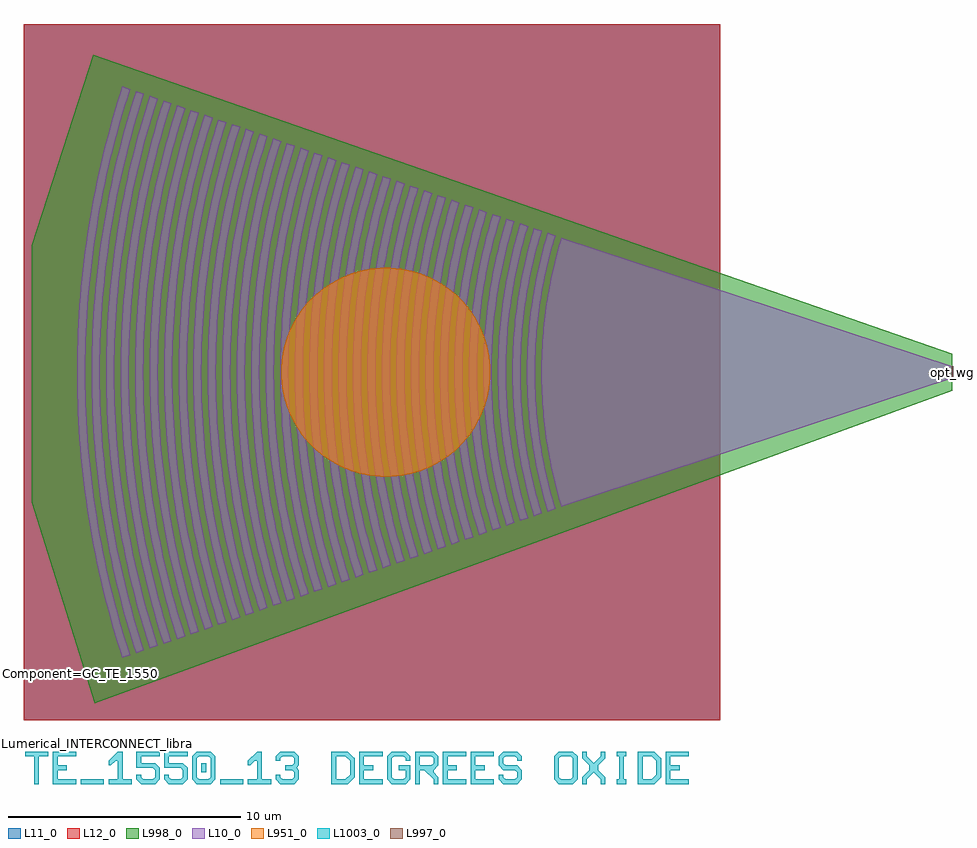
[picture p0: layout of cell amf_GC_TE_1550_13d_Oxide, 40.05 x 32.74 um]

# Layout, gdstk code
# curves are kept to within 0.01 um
import gdstk
lib = gdstk.Library(unit=1e-6, precision=1e-09)
def R(c, l, rs):  # rectangles x0, y0, x1, y1
    for r in rs: c.add(gdstk.rectangle(r[:2], r[2:], *l))
def P(c, l, *ps):  # polygons
    for p in ps: c.add(gdstk.Polygon(p, *l))
L10_0 = (10, 0)
L11_0 = (11, 0)
L12_0 = (12, 0)
L951_0 = (951, 0)
L997_0 = (997, 0)
L998_0 = (998, 0)
L1003_0 = (1003, 0)

amf_gc_te_1550_13d_oxide = lib.new_cell('amf_GC_TE_1550_13d_Oxide')
R(amf_gc_te_1550_13d_oxide, L10_0, [(-1,-0.25,0,0.25)])
P(amf_gc_te_1550_13d_oxide, L10_0, [(-24.52,-8.443),(-24.821,-7.428),(-25.082,-6.404),(-25.305,-5.372),(-25.488,-4.332),(-25.632,-3.287),(-25.736,-2.238),(-25.801,-1.186),(-25.826,-0.132),(-25.811,0.922),(-25.756,1.975),(-25.662,3.025),(-25.528,4.071),(-25.354,5.112),(-25.142,6.147),(-24.821,7.428),(-24.52,8.443),(-24.18,8.326),(-24.476,7.325),(-24.733,6.315),(-24.953,5.297),(-25.133,4.272),(-25.275,3.241),(-25.378,2.207),(-25.441,1.169),(-25.466,0.13),(-25.451,-0.909),(-25.378,-2.207),(-25.275,-3.241),(-25.133,-4.272),(-24.953,-5.297),(-24.733,-6.315),(-24.476,-7.325),(-24.18,-8.326)],
  [(-25.111,-8.646),(-25.419,-7.608),(-25.688,-6.559),(-25.916,-5.501),(-26.104,-4.437),(-26.252,-3.367),(-26.359,-2.292),(-26.425,-1.214),(-26.451,-0.135),(-26.436,0.944),(-26.379,2.023),(-26.283,3.098),(-26.145,4.17),(-25.967,5.236),(-25.749,6.295),(-25.419,7.608),(-25.111,8.646),(-24.771,8.529),(-25.074,7.504),(-25.339,6.47),(-25.564,5.427),(-25.75,4.377),(-25.895,3.321),(-26,2.261),(-26.066,1.198),(-26.091,0.133),(-26.076,-0.932),(-26.021,-1.995),(-25.895,-3.321),(-25.75,-4.377),(-25.564,-5.427),(-25.339,-6.47),(-25.074,-7.504),(-24.771,-8.529)],
  [(-25.702,-8.85),(-26.018,-7.787),(-26.293,-6.713),(-26.528,-5.631),(-26.721,-4.542),(-26.872,-3.446),(-26.982,-2.346),(-27.05,-1.243),(-27.076,-0.138),(-27.06,0.967),(-27.003,2.07),(-26.872,3.446),(-26.721,4.542),(-26.528,5.631),(-26.293,6.713),(-26.018,7.787),(-25.702,8.85),(-25.362,8.733),(-25.673,7.684),(-25.945,6.624),(-26.176,5.556),(-26.366,4.481),(-26.515,3.4),(-26.623,2.315),(-26.69,1.226),(-26.716,0.136),(-26.7,-0.954),(-26.644,-2.043),(-26.546,-3.129),(-26.366,-4.481),(-26.176,-5.556),(-25.945,-6.624),(-25.673,-7.684),(-25.362,-8.733)],
  [(-26.293,-9.053),(-26.617,-7.966),(-26.899,-6.868),(-27.139,-5.761),(-27.337,-4.646),(-27.492,-3.526),(-27.604,-2.4),(-27.674,-1.272),(-27.701,-0.141),(-27.685,0.989),(-27.626,2.118),(-27.524,3.245),(-27.38,4.367),(-27.139,5.761),(-26.899,6.868),(-26.617,7.966),(-26.293,9.053),(-25.953,8.936),(-26.272,7.863),(-26.55,6.779),(-26.787,5.686),(-26.982,4.586),(-27.135,3.48),(-27.246,2.369),(-27.314,1.255),(-27.341,0.139),(-27.325,-0.976),(-27.246,-2.369),(-27.135,-3.48),(-26.982,-4.586),(-26.787,-5.686),(-26.55,-6.779),(-26.272,-7.863),(-25.953,-8.936)],
  [(-26.884,-9.257),(-27.216,-8.145),(-27.505,-7.023),(-27.75,-5.891),(-27.953,-4.751),(-28.112,-3.605),(-28.227,-2.454),(-28.298,-1.3),(-28.326,-0.145),(-28.309,1.011),(-28.249,2.166),(-28.145,3.318),(-27.997,4.465),(-27.805,5.606),(-27.505,7.023),(-27.216,8.145),(-26.884,9.257),(-26.543,9.14),(-26.871,8.042),(-27.156,6.934),(-27.398,5.816),(-27.598,4.691),(-27.755,3.559),(-27.868,2.423),(-27.939,1.284),(-27.966,0.143),(-27.95,-0.999),(-27.89,-2.138),(-27.755,-3.559),(-27.598,-4.691),(-27.398,-5.816),(-27.156,-6.934),(-26.871,-8.042),(-26.543,-9.14)],
  [(-27.475,-9.46),(-27.814,-8.324),(-28.11,-7.177),(-28.362,-6.021),(-28.569,-4.856),(-28.732,-3.685),(-28.85,-2.508),(-28.923,-1.329),(-28.951,-0.148),(-28.934,1.034),(-28.872,2.214),(-28.765,3.391),(-28.614,4.564),(-28.418,5.73),(-28.177,6.889),(-27.892,8.039),(-27.475,9.46),(-27.134,9.343),(-27.469,8.221),(-27.761,7.088),(-28.01,5.946),(-28.214,4.795),(-28.375,3.639),(-28.491,2.477),(-28.563,1.312),(-28.591,0.146),(-28.563,-1.312),(-28.491,-2.477),(-28.375,-3.639),(-28.214,-4.795),(-28.01,-5.946),(-27.761,-7.088),(-27.469,-8.221),(-27.134,-9.343)],
  [(-17.429,-6.001),(-17.635,-5.278),(-17.815,-4.549),(-17.968,-3.814),(-18.094,-3.075),(-18.193,-2.333),(-18.265,-1.588),(-18.309,-0.841),(-18.326,-0.093),(-18.316,0.654),(-18.278,1.401),(-18.214,2.147),(-18.122,2.89),(-18.002,3.63),(-17.856,4.366),(-17.683,5.096),(-17.429,6.001),(-17.088,5.884),(-17.291,5.175),(-17.467,4.46),(-17.616,3.74),(-17.739,3.015),(-17.836,2.287),(-17.906,1.557),(-17.949,0.825),(-17.966,0.092),(-17.956,-0.642),(-17.919,-1.374),(-17.856,-2.105),(-17.766,-2.833),(-17.616,-3.74),(-17.467,-4.46),(-17.291,-5.175),(-17.088,-5.884)],
  [(-18.02,-6.205),(-18.234,-5.457),(-18.421,-4.703),(-18.58,-3.944),(-18.71,-3.18),(-18.813,-2.413),(-18.887,-1.642),(-18.933,-0.87),(-18.951,-0.097),(-18.94,0.677),(-18.901,1.449),(-18.834,2.22),(-18.739,2.989),(-18.58,3.944),(-18.421,4.703),(-18.234,5.457),(-18.02,6.205),(-17.679,6.087),(-17.889,5.354),(-18.072,4.614),(-18.228,3.869),(-18.356,3.12),(-18.456,2.367),(-18.529,1.611),(-18.574,0.853),(-18.591,0.095),(-18.581,-0.664),(-18.529,-1.611),(-18.456,-2.367),(-18.356,-3.12),(-18.228,-3.869),(-18.072,-4.614),(-17.889,-5.354),(-17.679,-6.087)],
  [(-18.611,-6.408),(-18.833,-5.636),(-19.027,-4.858),(-19.191,-4.074),(-19.327,-3.285),(-19.433,-2.492),(-19.51,-1.696),(-19.558,-0.899),(-19.576,-0.1),(-19.565,0.699),(-19.525,1.497),(-19.433,2.492),(-19.327,3.285),(-19.191,4.074),(-19.027,4.858),(-18.833,5.636),(-18.611,6.408),(-18.27,6.291),(-18.488,5.533),(-18.678,4.769),(-18.839,3.999),(-18.972,3.225),(-19.076,2.446),(-19.151,1.665),(-19.198,0.882),(-19.216,0.098),(-19.205,-0.686),(-19.166,-1.47),(-19.076,-2.446),(-18.972,-3.225),(-18.839,-3.999),(-18.678,-4.769),(-18.488,-5.533),(-18.27,-6.291)],
  [(-29.839,-10.274),(-30.209,-9.041),(-30.532,-7.796),(-30.807,-6.54),(-31.034,-5.275),(-31.211,-4.003),(-31.34,-2.725),(-31.42,-1.444),(-31.451,-0.16),(-31.432,1.123),(-31.365,2.405),(-31.248,3.684),(-31.034,5.275),(-30.807,6.54),(-30.532,7.796),(-30.209,9.041),(-29.839,10.274),(-29.498,10.157),(-29.865,8.938),(-30.184,7.707),(-30.455,6.465),(-30.679,5.214),(-30.854,3.957),(-30.982,2.694),(-31.06,1.427),(-31.091,0.159),(-31.073,-1.11),(-30.982,-2.694),(-30.854,-3.957),(-30.679,-5.214),(-30.455,-6.465),(-30.184,-7.707),(-29.865,-8.938),(-29.498,-10.157)],
  [(-30.43,-10.478),(-30.808,-9.22),(-31.138,-7.95),(-31.419,-6.669),(-31.65,-5.379),(-31.831,-4.082),(-31.963,-2.779),(-32.044,-1.472),(-32.076,-0.164),(-32.057,1.145),(-31.988,2.453),(-31.869,3.757),(-31.7,5.056),(-31.481,6.348),(-31.213,7.631),(-30.895,8.904),(-30.43,10.478),(-30.089,10.361),(-30.463,9.117),(-30.789,7.861),(-31.067,6.595),(-31.295,5.319),(-31.474,4.036),(-31.604,2.748),(-31.685,1.456),(-31.716,0.162),(-31.697,-1.132),(-31.629,-2.425),(-31.474,-4.036),(-31.295,-5.319),(-31.067,-6.595),(-30.789,-7.861),(-30.463,-9.117),(-30.089,-10.361)],
  [(-31.021,-10.681),(-31.407,-9.4),(-31.744,-8.105),(-32.03,-6.799),(-32.266,-5.484),(-32.451,-4.162),(-32.586,-2.833),(-32.669,-1.501),(-32.701,-0.167),(-32.682,1.168),(-32.586,2.833),(-32.451,4.162),(-32.266,5.484),(-32.03,6.799),(-31.744,8.105),(-31.407,9.4),(-31.021,10.681),(-30.68,10.564),(-31.062,9.296),(-31.395,8.016),(-31.678,6.724),(-31.911,5.424),(-32.094,4.116),(-32.227,2.802),(-32.309,1.485),(-32.341,0.165),(-32.322,-1.155),(-32.252,-2.473),(-32.132,-3.788),(-31.962,-5.097),(-31.741,-6.4),(-31.395,-8.016),(-31.062,-9.296),(-30.68,-10.564)],
  [(-20.974,-7.222),(-21.228,-6.353),(-21.449,-5.476),(-21.637,-4.593),(-21.791,-3.704),(-21.913,-2.81),(-22.001,-1.913),(-22.055,-1.013),(-22.076,-0.113),(-22.063,0.788),(-22.017,1.688),(-21.938,2.586),(-21.825,3.481),(-21.637,4.593),(-21.449,5.476),(-21.228,6.353),(-20.974,7.222),(-20.634,7.105),(-20.883,6.25),(-21.1,5.387),(-21.284,4.518),(-21.436,3.643),(-21.556,2.764),(-21.642,1.882),(-21.695,0.997),(-21.716,0.111),(-21.704,-0.775),(-21.658,-1.661),(-21.58,-2.544),(-21.469,-3.424),(-21.326,-4.3),(-21.149,-5.171),(-20.883,-6.25),(-20.634,-7.105)],
  [(-21.565,-7.426),(-21.827,-6.532),(-22.054,-5.631),(-22.248,-4.723),(-22.407,-3.809),(-22.533,-2.89),(-22.623,-1.967),(-22.679,-1.042),(-22.701,-0.116),(-22.688,0.811),(-22.64,1.736),(-22.558,2.659),(-22.442,3.579),(-22.291,4.495),(-22.106,5.405),(-21.887,6.308),(-21.565,7.426),(-21.225,7.308),(-21.482,6.429),(-21.706,5.542),(-21.896,4.648),(-22.053,3.748),(-22.175,2.844),(-22.265,1.936),(-22.32,1.026),(-22.341,0.114),(-22.32,-1.026),(-22.265,-1.936),(-22.175,-2.844),(-22.053,-3.748),(-21.896,-4.648),(-21.706,-5.542),(-21.482,-6.429),(-21.225,-7.308)],
  [(-22.156,-7.629),(-22.426,-6.712),(-22.66,-5.786),(-22.859,-4.852),(-23.024,-3.913),(-23.152,-2.969),(-23.246,-2.021),(-23.304,-1.071),(-23.326,-0.119),(-23.313,0.833),(-23.264,1.784),(-23.179,2.732),(-23.024,3.913),(-22.859,4.852),(-22.66,5.786),(-22.426,6.712),(-22.156,7.629),(-21.816,7.512),(-22.081,6.608),(-22.311,5.697),(-22.507,4.778),(-22.669,3.853),(-22.795,2.923),(-22.887,1.99),(-22.944,1.054),(-22.966,0.117),(-22.953,-0.82),(-22.905,-1.756),(-22.822,-2.69),(-22.704,-3.621),(-22.551,-4.547),(-22.311,-5.697),(-22.081,-6.608),(-21.816,-7.512)],
  [(-33.384,-11.495),(-33.802,-10.116),(-34.166,-8.723),(-34.476,-7.318),(-34.731,-5.903),(-34.931,-4.48),(-35.076,-3.05),(-35.166,-1.616),(-35.201,-0.18),(-35.18,1.257),(-35.104,2.692),(-35.045,3.408),(-34.931,4.48),(-34.731,5.903),(-34.476,7.318),(-34.166,8.723),(-33.802,10.116),(-33.384,11.495),(-33.044,11.378),(-33.457,10.013),(-33.817,8.634),(-34.123,7.244),(-34.376,5.843),(-34.574,4.434),(-34.718,3.019),(-34.807,1.599),(-34.841,0.178),(-34.831,-0.889),(-34.807,-1.599),(-34.718,-3.019),(-34.574,-4.434),(-34.376,-5.843),(-34.123,-7.244),(-33.817,-8.634),(-33.457,-10.013),(-33.044,-11.378)],
  [(-33.975,-11.699),(-34.401,-10.296),(-34.771,-8.878),(-35.087,-7.448),(-35.347,-6.008),(-35.551,-4.559),(-35.699,-3.104),(-35.791,-1.644),(-35.826,-0.183),(-35.815,0.914),(-35.791,1.644),(-35.699,3.104),(-35.551,4.559),(-35.347,6.008),(-35.087,7.448),(-34.771,8.878),(-34.401,10.296),(-33.975,11.699),(-33.635,11.581),(-34.056,10.192),(-34.423,8.789),(-34.735,7.373),(-34.992,5.947),(-35.194,4.513),(-35.34,3.073),(-35.431,1.628),(-35.466,0.181),(-35.445,-1.266),(-35.368,-2.712),(-35.236,-4.154),(-35.048,-5.59),(-34.933,-6.305),(-34.735,-7.373),(-34.423,-8.789),(-34.056,-10.192),(-33.635,-11.581)],
  [(-34.566,-11.902),(-34.999,-10.475),(-35.377,-9.033),(-35.698,-7.578),(-35.963,-6.112),(-36.171,-4.639),(-36.322,-3.158),(-36.415,-1.673),(-36.451,-0.186),(-36.44,0.93),(-36.415,1.673),(-36.322,3.158),(-36.171,4.639),(-35.963,6.112),(-35.698,7.578),(-35.377,9.033),(-34.999,10.475),(-34.566,11.902),(-34.226,11.785),(-34.655,10.372),(-35.028,8.944),(-35.346,7.503),(-35.608,6.052),(-35.814,4.593),(-35.963,3.127),(-36.055,1.657),(-36.091,0.184),(-36.069,-1.289),(-35.991,-2.76),(-35.856,-4.227),(-35.665,-5.688),(-35.417,-7.141),(-35.113,-8.585),(-34.94,-9.302),(-34.655,-10.372),(-34.226,-11.785)],
  [(-35.157,-12.106),(-35.598,-10.654),(-35.983,-9.187),(-36.31,-7.708),(-36.579,-6.217),(-36.791,-4.718),(-36.944,-3.212),(-37.039,-1.702),(-37.076,-0.189),(-37.054,1.324),(-36.973,2.835),(-36.835,4.342),(-36.638,5.843),(-36.452,6.964),(-36.31,7.708),(-35.983,9.187),(-35.598,10.654),(-35.157,12.106),(-34.817,11.988),(-35.253,10.551),(-35.634,9.098),(-35.958,7.633),(-36.224,6.157),(-36.434,4.672),(-36.586,3.181),(-36.68,1.685),(-36.716,0.187),(-36.694,-1.311),(-36.614,-2.807),(-36.477,-4.3),(-36.282,-5.786),(-36.03,-7.265),(-35.803,-8.367),(-35.634,-9.098),(-35.253,-10.551),(-34.817,-11.988)],
  [(-35.748,-12.309),(-36.197,-10.833),(-36.588,-9.342),(-36.921,-7.837),(-37.195,-6.322),(-37.411,-4.798),(-37.567,-3.266),(-37.664,-1.731),(-37.701,-0.192),(-37.678,1.346),(-37.597,2.883),(-37.455,4.415),(-37.255,5.942),(-36.995,7.46),(-36.677,8.967),(-36.496,9.716),(-36.197,10.833),(-35.748,12.309),(-35.408,12.192),(-35.852,10.73),(-36.239,9.253),(-36.569,7.763),(-36.84,6.262),(-37.054,4.752),(-37.208,3.235),(-37.304,1.714),(-37.341,0.191),(-37.319,-1.333),(-37.238,-2.855),(-37.098,-4.373),(-36.899,-5.885),(-36.642,-7.388),(-36.327,-8.881),(-36.053,-9.993),(-35.852,-10.73),(-35.408,-12.192)],
  [(-16.838,-5.798),(-17.037,-5.099),(-17.21,-4.394),(-17.357,-3.684),(-17.478,-2.971),(-17.573,-2.254),(-17.642,-1.534),(-17.685,-0.813),(-17.701,-0.09),(-17.685,0.813),(-17.642,1.534),(-17.573,2.254),(-17.478,2.971),(-17.357,3.684),(-17.21,4.394),(-17.037,5.099),(-16.838,5.798),(0,0.25),(0,-0.25)],
  [(-19.202,-6.612),(-19.432,-5.816),(-19.632,-5.013),(-19.803,-4.204),(-19.943,-3.39),(-20.053,-2.572),(-20.133,-1.75),(-20.182,-0.927),(-20.201,-0.103),(-20.19,0.721),(-20.133,1.75),(-20.053,2.572),(-19.943,3.39),(-19.803,4.204),(-19.632,5.013),(-19.432,5.816),(-19.202,6.612),(-18.861,6.494),(-19.087,5.712),(-19.283,4.924),(-19.45,4.129),(-19.588,3.329),(-19.696,2.526),(-19.774,1.719),(-19.822,0.911),(-19.841,0.101),(-19.83,-0.708),(-19.789,-1.517),(-19.718,-2.324),(-19.618,-3.129),(-19.488,-3.929),(-19.328,-4.725),(-19.139,-5.516),(-18.861,-6.494)],
  [(-19.792,-6.815),(-20.031,-5.995),(-20.238,-5.167),(-20.414,-4.333),(-20.559,-3.494),(-20.673,-2.651),(-20.755,-1.805),(-20.806,-0.956),(-20.826,-0.106),(-20.814,0.744),(-20.771,1.593),(-20.673,2.651),(-20.559,3.494),(-20.414,4.333),(-20.238,5.167),(-20.031,5.995),(-19.792,6.815),(-19.452,6.698),(-19.686,5.892),(-19.889,5.078),(-20.062,4.259),(-20.204,3.434),(-20.316,2.605),(-20.397,1.773),(-20.447,0.939),(-20.466,0.104),(-20.454,-0.731),(-20.412,-1.565),(-20.339,-2.398),(-20.235,-3.227),(-20.062,-4.259),(-19.889,-5.078),(-19.686,-5.892),(-19.452,-6.698)],
  [(-20.383,-7.019),(-20.629,-6.174),(-20.843,-5.322),(-21.025,-4.463),(-21.175,-3.599),(-21.293,-2.731),(-21.378,-1.859),(-21.431,-0.985),(-21.451,-0.109),(-21.439,0.766),(-21.394,1.64),(-21.317,2.513),(-21.208,3.382),(-21.066,4.248),(-20.892,5.108),(-20.686,5.962),(-20.383,7.019),(-20.043,6.901),(-20.284,6.071),(-20.494,5.233),(-20.673,4.388),(-20.82,3.539),(-20.936,2.685),(-21.019,1.828),(-21.071,0.968),(-21.091,0.108),(-21.079,-0.753),(-21.035,-1.613),(-20.959,-2.471),(-20.852,-3.326),(-20.713,-4.176),(-20.542,-5.022),(-20.34,-5.862),(-20.043,-6.901)],
  [(-28.066,-9.664),(-28.413,-8.504),(-28.716,-7.332),(-28.973,-6.15),(-29.185,-4.96),(-29.352,-3.764),(-29.472,-2.563),(-29.547,-1.358),(-29.576,-0.151),(-29.559,1.056),(-29.495,2.262),(-29.386,3.464),(-29.231,4.662),(-28.973,6.15),(-28.716,7.332),(-28.413,8.504),(-28.066,9.664),(-27.725,9.547),(-28.068,8.4),(-28.367,7.243),(-28.621,6.076),(-28.83,4.9),(-28.995,3.718),(-29.114,2.531),(-29.187,1.341),(-29.216,0.149),(-29.199,-1.043),(-29.136,-2.234),(-29.029,-3.422),(-28.876,-4.605),(-28.678,-5.782),(-28.435,-6.952),(-28.147,-8.112),(-27.725,-9.547)],
  [(-28.657,-9.867),(-29.012,-8.683),(-29.321,-7.486),(-29.585,-6.28),(-29.801,-5.065),(-29.972,-3.844),(-30.095,-2.617),(-30.171,-1.386),(-30.201,-0.154),(-30.183,1.078),(-30.119,2.309),(-30.007,3.537),(-29.848,4.76),(-29.643,5.977),(-29.391,7.186),(-29.094,8.385),(-28.657,9.867),(-28.316,9.75),(-28.667,8.58),(-28.972,7.397),(-29.232,6.205),(-29.446,5.005),(-29.615,3.798),(-29.736,2.586),(-29.812,1.37),(-29.841,0.152),(-29.823,-1.066),(-29.76,-2.282),(-29.649,-3.495),(-29.493,-4.704),(-29.29,-5.906),(-29.042,-7.1),(-28.748,-8.285),(-28.316,-9.75)],
  [(-29.248,-10.071),(-29.611,-8.862),(-29.927,-7.641),(-30.196,-6.41),(-30.418,-5.17),(-30.592,-3.923),(-30.718,-2.671),(-30.796,-1.415),(-30.826,-0.157),(-30.808,1.101),(-30.742,2.357),(-30.628,3.61),(-30.466,4.859),(-30.256,6.101),(-29.999,7.334),(-29.611,8.862),(-29.248,10.071),(-28.907,9.954),(-29.266,8.759),(-29.578,7.552),(-29.844,6.335),(-30.063,5.11),(-30.234,3.877),(-30.359,2.64),(-30.436,1.398),(-30.466,0.155),(-30.448,-1.088),(-30.383,-2.33),(-30.27,-3.568),(-30.063,-5.11),(-29.844,-6.335),(-29.578,-7.552),(-29.266,-8.759),(-28.907,-9.954)],
  [(-22.747,-7.832),(-23.024,-6.891),(-23.266,-5.94),(-23.471,-4.982),(-23.64,-4.018),(-23.772,-3.049),(-23.868,-2.075),(-23.928,-1.099),(-23.951,-0.122),(-23.937,0.855),(-23.887,1.832),(-23.8,2.806),(-23.64,4.018),(-23.471,4.982),(-23.266,5.94),(-23.024,6.891),(-22.747,7.832),(-22.407,7.715),(-22.679,6.788),(-22.917,5.851),(-23.119,4.908),(-23.285,3.958),(-23.415,3.003),(-23.51,2.044),(-23.568,1.083),(-23.591,0.12),(-23.568,-1.083),(-23.51,-2.044),(-23.415,-3.003),(-23.285,-3.958),(-23.119,-4.908),(-22.917,-5.851),(-22.679,-6.788),(-22.407,-7.715)],
  [(-23.338,-8.036),(-23.623,-7.07),(-23.871,-6.095),(-24.082,-5.112),(-24.256,-4.123),(-24.392,-3.128),(-24.491,-2.129),(-24.552,-1.128),(-24.576,-0.125),(-24.562,0.878),(-24.51,1.879),(-24.421,2.879),(-24.294,3.874),(-24.082,5.112),(-23.871,6.095),(-23.623,7.07),(-23.338,8.036),(-22.998,7.919),(-23.278,6.967),(-23.522,6.006),(-23.73,5.037),(-23.901,4.062),(-24.035,3.082),(-24.132,2.098),(-24.193,1.112),(-24.216,0.124),(-24.202,-0.865),(-24.151,-1.852),(-24.063,-2.837),(-23.938,-3.818),(-23.776,-4.794),(-23.578,-5.764),(-23.343,-6.727),(-22.998,-7.919)],
  [(-23.929,-8.239),(-24.222,-7.249),(-24.477,-6.25),(-24.694,-5.242),(-24.872,-4.227),(-25.012,-3.208),(-25.114,-2.184),(-25.177,-1.157),(-25.201,-0.129),(-25.186,0.9),(-25.133,1.927),(-25.041,2.952),(-24.911,3.973),(-24.694,5.242),(-24.477,6.25),(-24.222,7.249),(-23.929,8.239),(-23.589,8.122),(-23.877,7.146),(-24.128,6.16),(-24.341,5.167),(-24.517,4.167),(-24.655,3.162),(-24.755,2.152),(-24.817,1.14),(-24.841,0.127),(-24.827,-0.887),(-24.755,-2.152),(-24.655,-3.162),(-24.517,-4.167),(-24.341,-5.167),(-24.128,-6.16),(-23.877,-7.146),(-23.589,-8.122)],
  [(-31.611,-10.885),(-32.006,-9.579),(-32.349,-8.26),(-32.641,-6.929),(-32.882,-5.589),(-33.071,-4.241),(-33.208,-2.887),(-33.293,-1.53),(-33.326,-0.17),(-33.323,0.51),(-33.293,1.53),(-33.208,2.887),(-33.071,4.241),(-32.882,5.589),(-32.641,6.929),(-32.349,8.26),(-32.006,9.579),(-31.611,10.885),(-31.271,10.767),(-31.661,9.476),(-32,8.171),(-32.289,6.854),(-32.527,5.529),(-32.714,4.195),(-32.85,2.856),(-32.934,1.513),(-32.966,0.168),(-32.946,-1.177),(-32.875,-2.521),(-32.753,-3.861),(-32.579,-5.196),(-32.354,-6.524),(-32,-8.171),(-31.661,-9.476),(-31.271,-10.767)],
  [(-32.202,-11.088),(-32.604,-9.758),(-32.955,-8.414),(-33.253,-7.059),(-33.498,-5.694),(-33.691,-4.321),(-33.831,-2.942),(-33.917,-1.558),(-33.951,-0.173),(-33.931,1.212),(-33.858,2.596),(-33.731,3.976),(-33.552,5.351),(-33.253,7.059),(-32.955,8.414),(-32.604,9.758),(-32.202,11.088),(-31.862,10.971),(-32.26,9.655),(-32.606,8.325),(-32.901,6.984),(-33.143,5.633),(-33.334,4.275),(-33.472,2.91),(-33.558,1.542),(-33.591,0.171),(-33.571,-1.199),(-33.499,-2.569),(-33.374,-3.934),(-33.196,-5.294),(-33.088,-5.972),(-32.901,-6.984),(-32.606,-8.325),(-32.26,-9.655),(-31.862,-10.971)],
  [(-32.793,-11.292),(-33.203,-9.937),(-33.56,-8.569),(-33.864,-7.189),(-34.115,-5.798),(-34.311,-4.4),(-34.454,-2.996),(-34.542,-1.587),(-34.576,-0.176),(-34.566,0.882),(-34.542,1.587),(-34.454,2.996),(-34.311,4.4),(-34.115,5.798),(-33.864,7.189),(-33.56,8.569),(-33.203,9.937),(-32.793,11.292),(-32.453,11.174),(-32.858,9.834),(-33.211,8.48),(-33.512,7.114),(-33.76,5.738),(-33.954,4.354),(-34.095,2.964),(-34.182,1.571),(-34.216,0.175),(-34.196,-1.222),(-34.122,-2.616),(-34.065,-3.312),(-33.954,-4.354),(-33.76,-5.738),(-33.512,-7.114),(-33.211,-8.48),(-32.858,-9.834),(-32.453,-11.174)])
R(amf_gc_te_1550_13d_oxide, L11_0, [(-40,-15,-10,15)])
R(amf_gc_te_1550_13d_oxide, L12_0, [(-40,-15,-10,15)])
P(amf_gc_te_1550_13d_oxide, L951_0, [(-24.62,-4.5),(-25.06,-4.457),(-25.494,-4.37),(-25.917,-4.242),(-26.325,-4.073),(-26.715,-3.864),(-27.083,-3.619),(-27.425,-3.338),(-27.737,-3.026),(-28.018,-2.684),(-28.263,-2.316),(-28.472,-1.926),(-28.641,-1.518),(-28.769,-1.095),(-28.856,-0.661),(-28.899,-0.221),(-28.899,0.221),(-28.856,0.661),(-28.769,1.095),(-28.641,1.518),(-28.472,1.926),(-28.263,2.316),(-28.018,2.684),(-27.737,3.026),(-27.425,3.338),(-27.083,3.619),(-26.715,3.864),(-26.325,4.073),(-25.917,4.242),(-25.494,4.37),(-25.06,4.457),(-24.62,4.5),(-24.178,4.5),(-23.738,4.457),(-23.304,4.37),(-22.881,4.242),(-22.473,4.073),(-22.083,3.864),(-21.715,3.619),(-21.373,3.338),(-21.061,3.026),(-20.78,2.684),(-20.535,2.316),(-20.326,1.926),(-20.157,1.518),(-20.029,1.095),(-19.942,0.661),(-19.899,0.221),(-19.899,-0.221),(-19.942,-0.661),(-20.029,-1.095),(-20.157,-1.518),(-20.326,-1.926),(-20.535,-2.316),(-20.78,-2.684),(-21.061,-3.026),(-21.373,-3.338),(-21.715,-3.619),(-22.083,-3.864),(-22.473,-4.073),(-22.881,-4.242),(-23.304,-4.37),(-23.738,-4.457),(-24.178,-4.5)])
P(amf_gc_te_1550_13d_oxide, L998_0, [(-36.93,-14.26),(-39.65,-5.6),(-39.65,5.474),(-37.01,13.68),(0,0.8),(0,-0.8)])
R(amf_gc_te_1550_13d_oxide, L1003_0, [(-37.54,-17.74,-36.54,-17.54), (-31.54,-17.74,-30.54,-17.54), (-32.34,-17.24,-32.14,-16.84)])
P(amf_gc_te_1550_13d_oxide, L1003_0, [(-39.54,-17.74),(-39.54,-16.54),(-39.94,-16.54),(-39.94,-16.34),(-38.94,-16.34),(-38.94,-16.54),(-39.34,-16.54),(-39.34,-17.74)],
  [(-38.74,-17.74),(-38.74,-16.34),(-37.74,-16.34),(-37.74,-16.54),(-38.54,-16.54),(-38.54,-16.94),(-38.14,-16.94),(-38.14,-17.14),(-38.54,-17.14),(-38.54,-17.54),(-37.74,-17.54),(-37.74,-17.74)],
  [(-36.34,-17.74),(-36.34,-17.54),(-35.94,-17.54),(-35.94,-16.74),(-36.04,-16.74),(-36.24,-16.94),(-36.34,-16.94),(-36.34,-16.74),(-35.94,-16.34),(-35.74,-16.34),(-35.74,-17.54),(-35.34,-17.54),(-35.34,-17.74)],
  [(-34.94,-17.74),(-35.14,-17.54),(-35.14,-17.34),(-34.94,-17.34),(-34.94,-17.44),(-34.84,-17.54),(-34.44,-17.54),(-34.34,-17.44),(-34.34,-17.14),(-34.44,-17.04),(-35.14,-17.04),(-35.14,-16.34),(-34.14,-16.34),(-34.14,-16.54),(-34.94,-16.54),(-34.94,-16.84),(-34.34,-16.84),(-34.14,-17.04),(-34.14,-17.54),(-34.34,-17.74)],
  [(-33.74,-17.74),(-33.94,-17.54),(-33.94,-17.34),(-33.74,-17.34),(-33.74,-17.44),(-33.64,-17.54),(-33.24,-17.54),(-33.14,-17.44),(-33.14,-17.14),(-33.24,-17.04),(-33.94,-17.04),(-33.94,-16.34),(-32.94,-16.34),(-32.94,-16.54),(-33.74,-16.54),(-33.74,-16.84),(-33.14,-16.84),(-32.94,-17.04),(-32.94,-17.54),(-33.14,-17.74)],
  [(-32.54,-17.74),(-32.74,-17.54),(-32.74,-16.54),(-32.54,-16.34),(-31.94,-16.34),(-31.74,-16.54),(-32.44,-16.54),(-32.54,-16.64),(-32.54,-17.44),(-32.44,-17.54),(-32.04,-17.54),(-31.94,-17.44),(-31.94,-16.64),(-32.04,-16.54),(-31.74,-16.54),(-31.74,-17.54),(-31.94,-17.74)],
  [(-30.34,-17.74),(-30.34,-17.54),(-29.94,-17.54),(-29.94,-16.74),(-30.04,-16.74),(-30.24,-16.94),(-30.34,-16.94),(-30.34,-16.74),(-29.94,-16.34),(-29.74,-16.34),(-29.74,-17.54),(-29.34,-17.54),(-29.34,-17.74)],
  [(-28.94,-17.74),(-29.14,-17.54),(-29.14,-17.34),(-28.94,-17.34),(-28.94,-17.44),(-28.84,-17.54),(-28.44,-17.54),(-28.34,-17.44),(-28.34,-17.24),(-28.44,-17.14),(-28.74,-17.14),(-28.74,-16.94),(-28.44,-16.94),(-28.34,-16.84),(-28.34,-16.64),(-28.44,-16.54),(-28.84,-16.54),(-28.94,-16.64),(-28.94,-16.74),(-29.14,-16.74),(-29.14,-16.54),(-28.94,-16.34),(-28.34,-16.34),(-28.14,-16.54),(-28.14,-16.94),(-28.24,-17.04),(-28.14,-17.14),(-28.14,-17.54),(-28.34,-17.74)],
  [(-26.74,-17.74),(-26.74,-16.34),(-26.04,-16.34),(-25.84,-16.54),(-26.54,-16.54),(-26.54,-17.54),(-26.14,-17.54),(-25.94,-17.34),(-25.94,-16.74),(-26.14,-16.54),(-25.84,-16.54),(-25.74,-16.64),(-25.74,-17.44),(-26.04,-17.74)],
  [(-25.54,-17.74),(-25.54,-16.34),(-24.54,-16.34),(-24.54,-16.54),(-25.34,-16.54),(-25.34,-16.94),(-24.94,-16.94),(-24.94,-17.14),(-25.34,-17.14),(-25.34,-17.54),(-24.54,-17.54),(-24.54,-17.74)],
  [(-24.14,-17.74),(-24.34,-17.54),(-24.34,-16.54),(-24.14,-16.34),(-23.54,-16.34),(-23.34,-16.54),(-23.34,-16.74),(-23.54,-16.74),(-23.54,-16.64),(-23.64,-16.54),(-24.04,-16.54),(-24.14,-16.64),(-24.14,-17.44),(-24.04,-17.54),(-23.64,-17.54),(-23.54,-17.44),(-23.54,-17.14),(-23.84,-17.14),(-23.84,-16.94),(-23.34,-16.94),(-23.34,-17.54),(-23.54,-17.74)],
  [(-23.14,-17.74),(-23.14,-16.34),(-22.34,-16.34),(-22.14,-16.54),(-22.94,-16.54),(-22.94,-16.94),(-22.44,-16.94),(-22.34,-16.84),(-22.34,-16.64),(-22.44,-16.54),(-22.14,-16.54),(-22.14,-16.94),(-22.34,-17.14),(-22.34,-17.24),(-22.14,-17.44),(-22.14,-17.74),(-22.34,-17.74),(-22.34,-17.54),(-22.74,-17.14),(-22.94,-17.14),(-22.94,-17.74)],
  [(-21.94,-17.74),(-21.94,-16.34),(-20.94,-16.34),(-20.94,-16.54),(-21.74,-16.54),(-21.74,-16.94),(-21.34,-16.94),(-21.34,-17.14),(-21.74,-17.14),(-21.74,-17.54),(-20.94,-17.54),(-20.94,-17.74)],
  [(-20.74,-17.74),(-20.74,-16.34),(-19.74,-16.34),(-19.74,-16.54),(-20.54,-16.54),(-20.54,-16.94),(-20.14,-16.94),(-20.14,-17.14),(-20.54,-17.14),(-20.54,-17.54),(-19.74,-17.54),(-19.74,-17.74)],
  [(-19.34,-17.74),(-19.54,-17.54),(-19.54,-17.34),(-19.34,-17.34),(-19.34,-17.44),(-19.24,-17.54),(-18.84,-17.54),(-18.74,-17.44),(-18.74,-17.24),(-18.84,-17.14),(-19.34,-17.14),(-19.54,-16.94),(-19.54,-16.54),(-19.34,-16.34),(-18.74,-16.34),(-18.54,-16.54),(-18.54,-16.74),(-18.74,-16.74),(-18.74,-16.64),(-18.84,-16.54),(-19.24,-16.54),(-19.34,-16.64),(-19.34,-16.84),(-19.24,-16.94),(-18.74,-16.94),(-18.54,-17.14),(-18.54,-17.54),(-18.74,-17.74)],
  [(-16.94,-17.74),(-17.14,-17.54),(-17.14,-16.54),(-16.94,-16.34),(-16.34,-16.34),(-16.14,-16.54),(-16.14,-17.04),(-16.34,-17.04),(-16.34,-16.64),(-16.44,-16.54),(-16.84,-16.54),(-16.94,-16.64),(-16.94,-17.44),(-16.84,-17.54),(-16.44,-17.54),(-16.34,-17.44),(-16.34,-17.04),(-16.14,-17.04),(-16.14,-17.54),(-16.34,-17.74)],
  [(-15.94,-17.74),(-15.94,-17.44),(-15.64,-17.14),(-15.64,-16.94),(-15.94,-16.64),(-15.94,-16.34),(-15.74,-16.34),(-15.74,-16.54),(-15.44,-16.84),(-15.14,-16.54),(-15.14,-16.34),(-14.94,-16.34),(-14.94,-16.64),(-15.24,-16.94),(-15.24,-17.14),(-14.94,-17.44),(-14.94,-17.74),(-15.14,-17.74),(-15.14,-17.54),(-15.44,-17.24),(-15.74,-17.54),(-15.74,-17.74)],
  [(-14.44,-17.74),(-14.44,-17.54),(-14.34,-17.54),(-14.34,-16.54),(-14.44,-16.54),(-14.44,-16.34),(-14.04,-16.34),(-14.04,-16.54),(-14.14,-16.54),(-14.14,-17.54),(-14.04,-17.54),(-14.04,-17.74)],
  [(-13.54,-17.74),(-13.54,-16.34),(-12.84,-16.34),(-12.64,-16.54),(-13.34,-16.54),(-13.34,-17.54),(-12.94,-17.54),(-12.74,-17.34),(-12.74,-16.74),(-12.94,-16.54),(-12.64,-16.54),(-12.54,-16.64),(-12.54,-17.44),(-12.84,-17.74)],
  [(-12.34,-17.74),(-12.34,-16.34),(-11.34,-16.34),(-11.34,-16.54),(-12.14,-16.54),(-12.14,-16.94),(-11.74,-16.94),(-11.74,-17.14),(-12.14,-17.14),(-12.14,-17.54),(-11.34,-17.54),(-11.34,-17.74)])
amf_gc_te_1550_13d_oxide.add(gdstk.FlexPath([(-0.05,0),(0.05,0)], 0.5, ends="flush", simple_path=True, layer=997, datatype=0))  # L997_0
amf_gc_te_1550_13d_oxide.add(gdstk.Label('opt_wg', (0,0), layer=997, texttype=0))
amf_gc_te_1550_13d_oxide.add(gdstk.Label('Lumerical_INTERCONNECT_library=Design kits/SiEPIC_AMF', (-39,-16), layer=998, texttype=0))
amf_gc_te_1550_13d_oxide.add(gdstk.Label('Component=GC_TE_1550', (-39,-13), layer=998, texttype=0))

lib.write_gds('amf_GC_TE_1550_13d_Oxide.gds')
